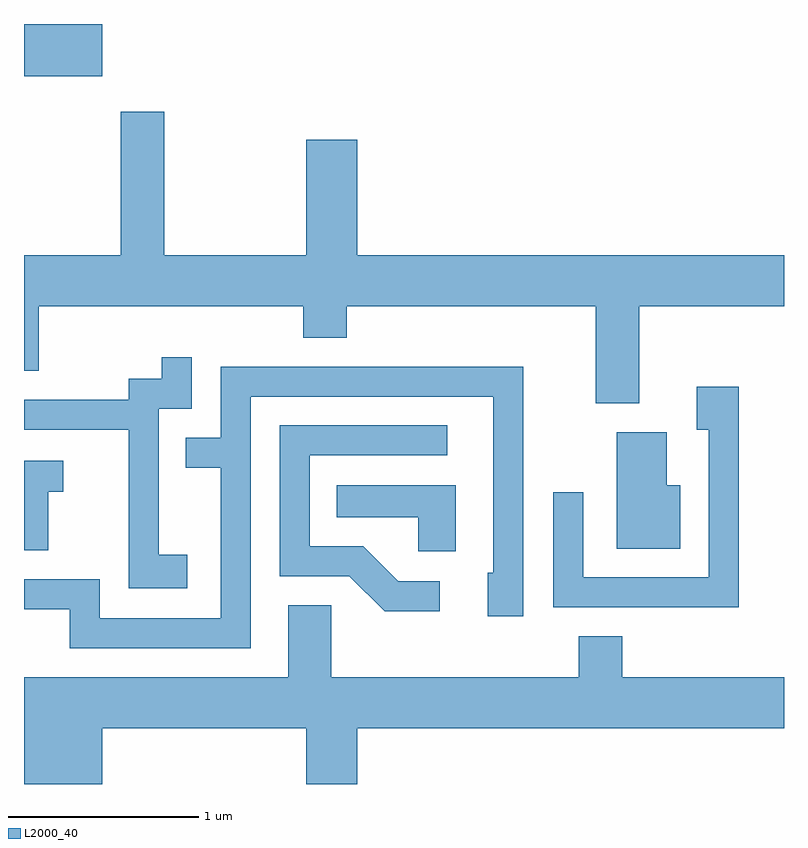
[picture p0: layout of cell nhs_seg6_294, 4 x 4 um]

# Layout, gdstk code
import gdstk
lib = gdstk.Library(unit=1e-6, precision=1e-09)
def R(c, l, rs):  # rectangles x0, y0, x1, y1
    for r in rs: c.add(gdstk.rectangle(r[:2], r[2:], *l))
def P(c, l, *ps):  # polygons
    for p in ps: c.add(gdstk.Polygon(p, *l))
L2000_40 = (2000, 40)

nhs_seg6_294 = lib.new_cell('nhs_seg6_294')
R(nhs_seg6_294, L2000_40, [(193.611,1577.886,194.024,1578.162)])
P(nhs_seg6_294, L2000_40, [(196.849,1576.676),(197.611,1576.676),(197.611,1576.944),(195.364,1576.944),(195.364,1577.554),(195.096,1577.554),(195.096,1576.944),(194.349,1576.944),(194.349,1577.699),(194.121,1577.699),(194.121,1576.944),(193.611,1576.944),(193.611,1576.336),(193.689,1576.336),(193.689,1576.676),(195.081,1576.676),(195.081,1576.511),(195.309,1576.511),(195.309,1576.676),(196.621,1576.676),(196.621,1576.166),(196.849,1576.166)],
  [(194.469,1575.369),(194.319,1575.369),(194.319,1576.136),(194.494,1576.136),(194.494,1576.408),(194.336,1576.408),(194.336,1576.294),(194.161,1576.294),(194.161,1576.184),(193.611,1576.184),(193.611,1576.026),(194.161,1576.026),(194.161,1575.191),(194.469,1575.191)],
  [(194.804,1576.201),(196.081,1576.201),(196.081,1575.274),(196.051,1575.274),(196.051,1575.046),(196.239,1575.046),(196.239,1576.359),(194.646,1576.359),(194.646,1575.984),(194.463,1575.984),(194.463,1575.826),(194.646,1575.826),(194.646,1575.034),(194.009,1575.034),(194.009,1575.239),(193.611,1575.239),(193.611,1575.081),(193.851,1575.081),(193.851,1574.876),(194.804,1574.876)],
  [(197.374,1576.254),(197.151,1576.254),(197.151,1576.026),(197.216,1576.026),(197.216,1575.249),(196.554,1575.249),(196.554,1575.698),(196.396,1575.698),(196.396,1575.091),(197.374,1575.091)],
  [(195.798,1575.229),(195.582,1575.229),(195.397,1575.414),(195.114,1575.414),(195.114,1575.891),(195.838,1575.891),(195.838,1576.049),(194.956,1576.049),(194.956,1575.256),(195.324,1575.256),(195.509,1575.071),(195.798,1575.071)],
  [(197.064,1575.734),(196.994,1575.734),(196.994,1576.014),(196.731,1576.014),(196.731,1575.401),(197.064,1575.401)],
  [(193.739,1575.701),(193.818,1575.701),(193.818,1575.864),(193.611,1575.864),(193.611,1575.391),(193.739,1575.391)],
  [(195.884,1575.734),(195.258,1575.734),(195.258,1575.566),(195.686,1575.566),(195.686,1575.386),(195.884,1575.386)],
  [(194.024,1574.456),(195.096,1574.456),(195.096,1574.162),(195.364,1574.162),(195.364,1574.456),(197.611,1574.456),(197.611,1574.724),(196.759,1574.724),(196.759,1574.939),(196.531,1574.939),(196.531,1574.724),(195.229,1574.724),(195.229,1575.104),(195.001,1575.104),(195.001,1574.724),(193.611,1574.724),(193.611,1574.162),(194.024,1574.162)])

lib.write_gds('nhs_seg6_294.gds')
